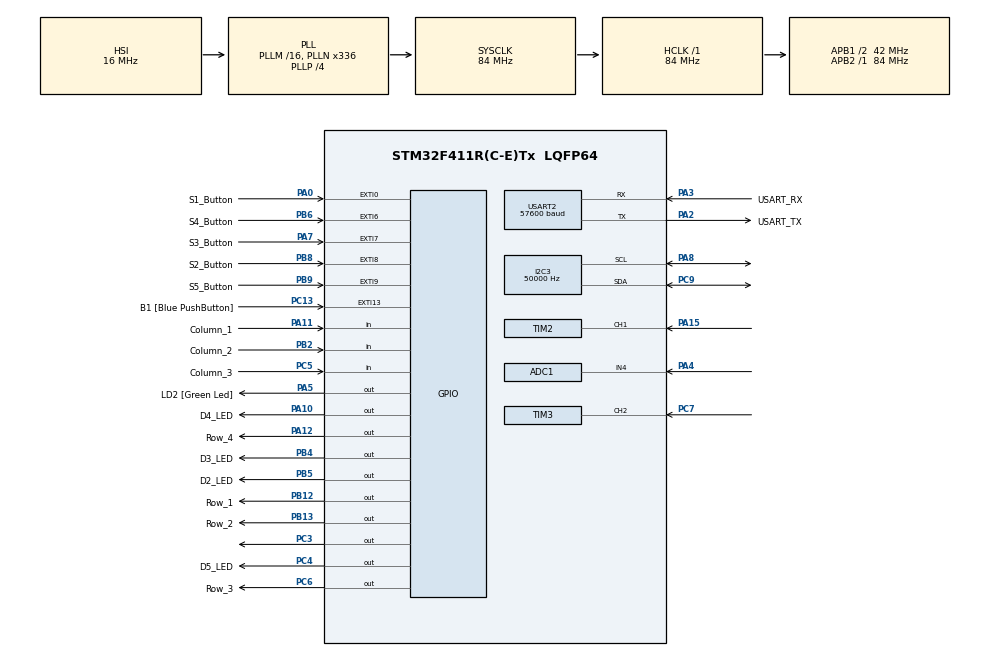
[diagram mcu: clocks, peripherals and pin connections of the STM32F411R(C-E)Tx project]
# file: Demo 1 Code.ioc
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ADC1.Channel-0\#ChannelRegularConversion=ADC_CHANNEL_4
ADC1.NbrOfConversion=1
ADC1.NbrOfConversionFlag=1
ADC1.Rank-0\#ChannelRegularConversion=1
ADC1.SamplingTime-0\#ChannelRegularConversion=ADC_SAMPLETIME_144CYCLES
ADC1.master=1
I2C3.ClockSpeed=50000
I2C3.I2C_Mode=I2C_Standard
Mcu.Family=STM32F4
Mcu.Name=STM32F411R(C-E)Tx
Mcu.Package=LQFP64
NVIC.ADC_IRQn=true\:0\:0\:false\:false\:true\:true\:true\:true
NVIC.EXTI0_IRQn=true\:0\:0\:false\:false\:true\:true\:true\:true
NVIC.EXTI15_10_IRQn=true\:0\:0\:false\:false\:true\:true\:true\:true
NVIC.EXTI9_5_IRQn=true\:0\:0\:false\:false\:true\:true\:true\:true
NVIC.PriorityGroup=NVIC_PRIORITYGROUP_0
NVIC.TIM2_IRQn=true\:0\:0\:false\:false\:true\:true\:true\:true
NVIC.TIM3_IRQn=true\:0\:0\:false\:false\:true\:true\:true\:true
NVIC.USART2_IRQn=true\:0\:0\:false\:false\:true\:true\:true\:true
PA0-WKUP.GPIO_Label=S1_Button
PA0-WKUP.GPIO_PuPd=GPIO_PULLDOWN
PA0-WKUP.Signal=GPXTI0
PA10.GPIO_Label=D4_LED
PA10.Signal=GPIO_Output
PA11.GPIO_Label=Column_1
PA11.GPIO_PuPd=GPIO_PULLDOWN
PA11.Signal=GPIO_Input
PA12.GPIO_Label=Row_4
PA12.Signal=GPIO_Output
PA13.GPIO_Label=TMS
PA13.Mode=Serial_Wire
PA13.Signal=SYS_JTMS-SWDIO
PA14.GPIO_Label=TCK
PA14.Mode=Serial_Wire
PA14.Signal=SYS_JTCK-SWCLK
PA15.GPIO_PuPd=GPIO_NOPULL
PA15.Signal=S_TIM2_CH1_ETR
PA2.GPIO_Label=USART_TX
PA2.Mode=Asynchronous
PA2.Signal=USART2_TX
PA3.GPIO_Label=USART_RX
PA3.Mode=Asynchronous
PA3.Signal=USART2_RX
PA4.Signal=ADCx_IN4
PA5.GPIO_Label=LD2 [Green Led]
PA5.Signal=GPIO_Output
PA7.GPIO_Label=S3_Button
PA7.GPIO_PuPd=GPIO_PULLDOWN
PA7.Signal=GPXTI7
PA8.Mode=I2C
PA8.Signal=I2C3_SCL
PB12.GPIO_Label=Row_1
PB12.Signal=GPIO_Output
PB13.GPIO_Label=Row_2
PB13.Signal=GPIO_Output
PB2.GPIO_Label=Column_2
PB2.GPIO_PuPd=GPIO_PULLDOWN
PB2.Signal=GPIO_Input
PB3.GPIO_Label=SWO
PB3.Signal=SYS_JTDO-SWO
PB4.GPIO_Label=D3_LED
PB4.Signal=GPIO_Output
PB5.GPIO_Label=D2_LED
PB5.Signal=GPIO_Output
PB6.GPIO_Label=S4_Button
PB6.GPIO_PuPd=GPIO_PULLDOWN
PB6.Signal=GPXTI6
PB8.GPIO_Label=S2_Button
PB8.GPIO_PuPd=GPIO_PULLDOWN
PB8.Signal=GPXTI8
PB9.GPIO_Label=S5_Button
PB9.GPIO_PuPd=GPIO_PULLDOWN
PB9.Signal=GPXTI9
PC13-ANTI_TAMP.GPIO_Label=B1 [Blue PushButton]
PC13-ANTI_TAMP.GPIO_ModeDefaultEXTI=GPIO_MODE_IT_FALLING
PC13-ANTI_TAMP.Signal=GPXTI13
PC14-OSC32_IN.Mode=LSE-External-Oscillator
PC14-OSC32_IN.Signal=RCC_OSC32_IN
PC15-OSC32_OUT.Mode=LSE-External-Oscillator
PC15-OSC32_OUT.Signal=RCC_OSC32_OUT
PC3.Signal=GPIO_Output
PC4.GPIO_Label=D5_LED
PC4.Signal=GPIO_Output
PC5.GPIO_Label=Column_3
PC5.GPIO_PuPd=GPIO_PULLDOWN
PC5.Signal=GPIO_Input
PC6.GPIO_Label=Row_3
PC6.Signal=GPIO_Output
PC7.GPIO_PuPd=GPIO_NOPULL
PC7.Signal=S_TIM3_CH2
PC9.Mode=I2C
PC9.Signal=I2C3_SDA
PH0\ -\ OSC_IN.Mode=HSE-External-Clock-Source
PH0\ -\ OSC_IN.Signal=RCC_OSC_IN
PH1\ -\ OSC_OUT.Mode=HSE-External-Clock-Source
PH1\ -\ OSC_OUT.Signal=RCC_OSC_OUT
ProjectManager.HeapSize=0x200
ProjectManager.StackSize=0x400
ProjectManager.TargetToolchain=STM32CubeIDE
RCC.48MHZClocksFreq_Value=84000000
RCC.AHBFreq_Value=84000000
RCC.APB1CLKDivider=RCC_HCLK_DIV2
RCC.APB1Freq_Value=42000000
RCC.APB1TimFreq_Value=84000000
RCC.APB2Freq_Value=84000000
RCC.APB2TimFreq_Value=84000000
RCC.CortexFreq_Value=84000000
RCC.FLatency-AdvancedSettings=FLASH_LATENCY_2
RCC.HCLKFreq_Value=84000000
RCC.HSE_VALUE=8000000
RCC.HSI_VALUE=16000000
RCC.PLLN=336
RCC.PLLP=RCC_PLLP_DIV4
RCC.SYSCLKFreq_VALUE=84000000
RCC.SYSCLKSource=RCC_SYSCLKSOURCE_PLLCLK
RCC.VCOOutputFreq_Value=336000000
SH.ADCx_IN4.0=ADC1_IN4,IN4
SH.S_TIM2_CH1_ETR.0=TIM2_CH1,Input_Capture1_from_TI1
SH.S_TIM3_CH2.0=TIM3_CH2,Input_Capture2_from_TI2
TIM2.Channel-Input_Capture1_from_TI1=TIM_CHANNEL_1
TIM2.Prescaler=83
TIM3.Channel-Input_Capture2_from_TI2=TIM_CHANNEL_2
TIM3.Prescaler=0
USART2.BaudRate=57600
USART2.Parity=PARITY_EVEN
USART2.VirtualMode=VM_ASYNC
USART2.WordLength=WORDLENGTH_9B
board=NUCLEO-F411RE

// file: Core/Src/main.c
/* USER CODE BEGIN Header */
/**
  ******************************************************************************
  * @file           : main.c
  * @brief          : Main program body
  ******************************************************************************
  * @attention
  *
  * Copyright (c) 2026 STMicroelectronics.
  * All rights reserved.
  *
  * This software is licensed under terms that can be found in the LICENSE file
  * in the root directory of this software component.
  * If no LICENSE file comes with this software, it is provided AS-IS.
  *
  ******************************************************************************
  */
/* USER CODE END Header */
#include "main.h"

/* USER CODE BEGIN Includes */
#include <string.h>
#include <stdio.h>
#include <stdlib.h>
#include <ssd1306.h>
#include <ssd1306_fonts.h>

/* USER CODE END Includes */

/* USER CODE BEGIN PD */
#define BUTTON_DEBOUNCE_TIME_MS 200
#define TEMP_BUFFER_SIZE 5
#define TRIG_PIN GPIO_PIN_3
#define TRIG_PORT GPIOC

//LED definitions
#define D2_LED_PIN GPIO_PIN_5
#define D2_LED_PORT GPIOB
#define D3_LED_PIN GPIO_PIN_4
#define D3_LED_PORT GPIOB
#define D4_LED_PIN GPIO_PIN_10
#define D4_LED_PORT GPIOA
#define D5_LED_PIN GPIO_PIN_4
#define D5_LED_PORT GPIOC

//Button definitions
#define S1_Button_pin GPIO_PIN_0
#define S1_BUTTON_PORT GPIOA
#define S2_Button_pin GPIO_PIN_8
#define S2_BUTTON_PORT GPIOB
#define S3_Button_pin GPIO_PIN_7
#define S3_BUTTON_PORT GPIOA
#define S4_Button_pin GPIO_PIN_6
#define S4_BUTTON_PORT GPIOB
#define S5_Button_pin GPIO_PIN_9
#define S5_BUTTON_PORT GPIOB

// Temperature sensor definitions
#define TEMP_WINDOW_MS              200U
#define TEMP_FILTER_SIZE            5U
#define TEMP_HIGH_ALARM_C           30.0f

#define TEMP_STARTUP_DISCARD_COUNT  1U
#define TEMP_MAX_STEP_C             3.0f
#define TEMP_MIN_VALID_C           -20.0f
#define TEMP_MAX_VALID_C            80.0f
#define TEMP_MIN_VALID_PULSES      400U
#define TEMP_MAX_VALID_PULSES     2500U
#define TEMP_STALE_TIMEOUT_MS     80U

// Proximity sensor definitions
#define ULTRA_TRIGGER_PERIOD_MS     100U
#define ULTRA_ALARM_CM              10.0f
#define ULTRA_CLEAR_CM              30.0f

//Keypad definitions
#define COLUMN_1_PIN GPIO_PIN_11
#define COLUMN_1_PORT GPIOA
#define COLUMN_2_PIN GPIO_PIN_2
#define COLUMN_2_PORT GPIOB
#define COLUMN_3_PIN GPIO_PIN_5
#define COLUMN_3_PORT GPIOC
#define ROW_1_PIN GPIO_PIN_12
#define ROW_1_PORT GPIOB
#define ROW_2_PIN GPIO_PIN_13
#define ROW_2_PORT GPIOB
#define ROW_3_PIN GPIO_PIN_6
#define ROW_3_PORT GPIOC
#define ROW_4_PIN GPIO_PIN_12
#define ROW_4_PORT GPIOA

//For the light sensor alarm condition
#define LIGHT_LOW_THRESHOLD   300.0f
#define LIGHT_HIGH_THRESHOLD  350.0f   // hysteresis

/* USER CODE END PD */

ADC_HandleTypeDef hadc1;

I2C_HandleTypeDef hi2c3;

TIM_HandleTypeDef htim2;
TIM_HandleTypeDef htim3;

UART_HandleTypeDef huart2;

/* USER CODE BEGIN PV */
// LED state tracking
uint8_t led_d3_state = 1;  // D3 starts ON (continuously)
uint8_t led_d5_state = 1;  // D5 starts ON (continuously)

// Flash timing
uint32_t lastFlashTime = 0;
uint8_t flashToggle = 0;

// Flag variables for buttons
volatile uint8_t flag_S1 = 0;
volatile uint8_t flag_S2 = 0;
volatile uint8_t flag_S3 = 0;
volatile uint8_t flag_S4 = 0;
volatile uint8_t flag_S5 = 0;

// Debounce trackers for each specific button
uint32_t LastTick_S1  = 0; // S1
uint32_t LastTick_S2  = 0; // S2
uint32_t LastTick_S3  = 0; // S3
uint32_t LastTick_S4  = 0; // S4
uint32_t LastTick_S5  = 0; // S5

/* ================= TEMPERATURE SENSOR ================= */
volatile uint32_t temp_pulse_count = 0;
volatile uint32_t temp_last_pulse_tick = 0;
volatile uint8_t  temp_raw_ready = 0;

float temp_raw_c = 0.0f;
float temp_calibrated_c = 0.0f;
float current_temp = 0.0f;

/* Two-point calibration: y = m*x + b
   Fill these from your own calibration measurements */
float temp_cal_m = 1.0000f;
float temp_cal_b = 0.0000f;

/* Robustness filter: keep 5 readings */
float temp_hist[TEMP_FILTER_SIZE] = {0};
uint8_t temp_hist_index = 0;
uint8_t temp_hist_full = 0;

/* ================= PROXIMITY SENSOR ================= */
float distance_cm = 0.0f;

// For the UART @Stat Command
uint8_t rx;
char uart_cmd[32];
uint8_t idx = 0;

// For alarm coding
volatile uint8_t proximity_alarm = 0;
volatile uint8_t temperature_alarm = 0;
volatile uint8_t alarm_check_enabled = 0;
uint32_t light_low_start_time = 0;
uint8_t light_alarm_state = 0;
volatile uint8_t light_warn_enabled = 1;
volatile uint8_t proximity_warn_enabled = 1;
volatile uint8_t temperature_warn_enabled = 1;
volatile uint8_t unsafe_driving = 0;
volatile uint8_t impact_detected = 0;
volatile uint8_t low_light_warning = 0;
volatile uint8_t warn_override[6] = {0};  // index 1–5
uint8_t data_logging_enabled = 0;
volatile uint8_t unsafe_alarm = 0;
volatile uint8_t impact_alarm = 0;
uint8_t temp_startup_discards = 0;
uint8_t temp_has_valid_reading = 0;
float temp_last_good_c = 0.0f;

//Menu navigation pages
typedef enum {
    PAGE_DEFAULT,

    PAGE_DISPLAY_1,
    PAGE_DISPLAY_2,
    PAGE_DISPLAY_3,
    PAGE_DISPLAY_4,
    PAGE_DISPLAY_5,

    PAGE_DATA_ENTRY_1,
    PAGE_DATA_ENTRY_2,
    PAGE_DATA_ENTRY_3,

    PAGE_DIAGNOSTIC_1,
    PAGE_DIAGNOSTIC_2,
    PAGE_DIAGNOSTIC_3,
    PAGE_DIAGNOSTIC_4,

    PAGE_WARNING
} SystemPage;

volatile SystemPage currentPage = PAGE_DEFAULT;

// ===== NEW MENU SYSTEM =====
uint8_t in_menu = 1;
uint8_t menu_state = 0;   // 0=Measurements, 1=Data Entry, 2=Diagnostics
uint8_t page = 0;
uint8_t subpage = 0;   // NEW: for deeper layer

uint8_t max_pages[] = {5, 3, 4};
// Measurements, Data Entry, Diagnostics
uint8_t in_warning = 0;
uint8_t warning_type = 0;

// Data entry
uint8_t editing = 0;
char input_buffer[10] = "";
float fuel_value = 0.0f;
float odometer_value = 0.0f;

// For Keypad debouncing
uint32_t keypad_last_time = 0;
char last_key = 0;

//For the alarm pages
uint8_t warning_acknowledged = 0;

//For the light sensor
volatile uint16_t light_adc = 0;
volatile float light_voltage = 0.0f;
volatile float light_lux = 0.0f;
uint16_t adc_raw = 0;

//For SetWarn implementation
volatile uint8_t forced_unsafe = 0;
volatile uint8_t forced_impact = 0;
volatile uint8_t forced_low_light = 0;
volatile uint8_t forced_proximity = 0;
volatile uint8_t forced_temp = 0;

/* ================= FUEL EFFICIENCY ================= */
float fuel_eff_kmpl = 0.0f;
float fuel_eff_l_per_100km = 0.0f;
volatile uint8_t sfd_received = 0;     // SFD has been received/executed

/* USER CODE END PV */

void SystemClock_Config(void);
static void MX_GPIO_Init(void);
static void MX_USART2_UART_Init(void);
static void MX_TIM2_Init(void);
static void MX_TIM3_Init(void);
static void MX_I2C3_Init(void);
static void MX_ADC1_Init(void);
/* USER CODE BEGIN PFP */
void ProcessButtons(void);
float FilterMiddle3Of5(float new_value);
void UpdateTemperatureSensor(void);
void SetTemperatureCalibration(float raw_low, float actual_low, float raw_high, float actual_high);
float Get_Distance(void);
float ApplyLinearCalibration(float raw_value, float m, float b);
void UpdateLightSensor(void);
void UpdateLightAlarm(void);
void SlideFixed1Buffer(char *buf, char digit);
float Fixed1BufferToFloat(const char *buf);
void FormatSlidingValue(char *out, size_t out_size, const char *buf);
void RecalculateFuelEfficiency(void);
void HandleSFDCommand(const char *cmd);
void SendRFEResponse(void);

/* USER CODE END PFP */

/* USER CODE BEGIN 0 */
void SendStudent_Number(void)
{
    HAL_Delay(350);
    char uart_buffer[20];
    const char studentNumber[] = "*24989142#\n";
    sprintf(uart_buffer, "%s", studentNumber);
    HAL_UART_Transmit(&huart2, (uint8_t*)studentNumber, strlen(studentNumber), 500);
}

void UpdateLEDs(void)
{
    uint32_t now = HAL_GetTick();

    if((now - lastFlashTime) >= 500U)
    {
        lastFlashTime = now;
        flashToggle ^= 1U;
    }
    /* Alarm sources for LEDs:
       - live measured alarms
       - OR SetWarn forced alarms
       SetWarn must not disable live alarm behaviour.
    */
    uint8_t d2_alarm = (proximity_alarm || forced_proximity);
    uint8_t d3_alarm = (unsafe_alarm || impact_alarm || forced_unsafe || forced_impact);
    uint8_t d4_alarm = (light_alarm_state || forced_low_light);
    uint8_t d5_alarm = (temperature_alarm || forced_temp);
    /* If you want LEDs OFF when no alarm, use RESET in the false case.
       That matches "alarm indicator" behaviour better than keeping them ON.
    */
    HAL_GPIO_WritePin(D2_LED_PORT, D2_LED_PIN,
        d2_alarm ? (flashToggle ? GPIO_PIN_SET : GPIO_PIN_RESET) : GPIO_PIN_SET);

    HAL_GPIO_WritePin(D3_LED_PORT, D3_LED_PIN,
        d3_alarm ? (flashToggle ? GPIO_PIN_SET : GPIO_PIN_RESET) : GPIO_PIN_SET);

    HAL_GPIO_WritePin(D4_LED_PORT, D4_LED_PIN,
        d4_alarm ? (flashToggle ? GPIO_PIN_SET : GPIO_PIN_RESET) : GPIO_PIN_SET);

    HAL_GPIO_WritePin(D5_LED_PORT, D5_LED_PIN,
        d5_alarm ? (flashToggle ? GPIO_PIN_SET : GPIO_PIN_RESET) : GPIO_PIN_SET);
}

void RecalculateFuelEfficiency(void)
{
    /* fuel_value      = liters refuelled
       odometer_value  = distance travelled since previous refuelling */
	fuel_eff_kmpl = odometer_value / fuel_value;
	fuel_eff_l_per_100km = (fuel_value / odometer_value) * 100.0f;
}

void HandleSFDCommand(const char *cmd)
{
    float liters = 0.0f;
    float km = 0.0f;
    if(sscanf(cmd, "@SFD %f;%f&", &liters, &km) == 2)
    {
        if(liters > 0.0f && km > 0.0f)
        {
            fuel_value = liters;
            odometer_value = km;
            sfd_received = 1;              // <-- missing line
            RecalculateFuelEfficiency();
        }
    }
}

void SendRFEResponse(void)
{
    char msg[128];
    /* Replace the timestamp later with your RTC values */
    snprintf(msg, sizeof(msg),
    		"@2026/02/26 22:12:42\n"
            "Fuel Eff: %04.1f km/L %04.1f L/100km\n"
            "&\n",
            fuel_eff_kmpl, fuel_eff_l_per_100km);
    HAL_UART_Transmit(&huart2, (uint8_t*)msg, strlen(msg), 500);
}

void SlideFixed1Buffer(char *buf, char digit)
{
    size_t len = strlen(buf);
    if(len < 4)
    {
        buf[len] = digit;
        buf[len + 1] = '\0';
    }
    else
    {
        buf[0] = buf[1];
        buf[1] = buf[2];
        buf[2] = buf[3];
        buf[3] = digit;
        buf[4] = '\0';
    }
}

float Fixed1BufferToFloat(const char *buf)
{
    int raw = 0;
    size_t len = strlen(buf);
    for(size_t i = 0; i < len; i++)
    {
        if(buf[i] >= '0' && buf[i] <= '9')
        {
            raw = (raw * 10) + (buf[i] - '0');
        }
    }
    return ((float)raw) / 10.0f;
}

void FormatSlidingValue(char *out, size_t out_size, const char *buf)
{
    int raw = 0;
    size_t len = strlen(buf);
    for(size_t i = 0; i < len; i++)
    {
        if(buf[i] >= '0' && buf[i] <= '9')
        {
            raw = (raw * 10) + (buf[i] - '0');
        }
    }
    snprintf(out, out_size, "%3d.%1d", raw / 10, raw % 10);
}

void ProcessButtons(void)
{
    // S1 = UP
    if(flag_S1)
    {
        flag_S1 = 0;
        if(in_warning)
            return;
        if(in_menu)   // top-level menu select
        {
            menu_state = (menu_state == 0) ? 2 : (menu_state - 1);
        }
        else if(!editing)   // inside selected menu, page navigation
        {
            if(page == 0)
                page = max_pages[menu_state] - 1;
            else
                page--;
        }
    }
    // S5 = DOWN
    if(flag_S5)
    {
        flag_S5 = 0;
        if(in_warning)
            return;
        if(in_menu)
        {
            menu_state = (menu_state + 1) % 3;
        }
        else if(!editing)
        {
            page++;
            if(page >= max_pages[menu_state])
                page = 0;
        }
    }
    // S4 = ENTER selected top-level menu
    if(flag_S4)
    {
        flag_S4 = 0;
        if(in_warning)
            return;
        if(in_menu)
        {
            in_menu = 0;
            page = 0;
        }
    }
    // S2 = EXIT / BACK
    if(flag_S2)
    {
        flag_S2 = 0;
        if(in_warning)
            return;   // S2 does nothing on warning page now
        if(editing)
        {
            editing = 0;
            memset(input_buffer, 0, sizeof(input_buffer));
        }
        else if(!in_menu)
        {
            in_menu = 1;
            page = 0;
        }
    }
    // S3 = DATA ENTRY toggle on pages 0 and 1 only
    if(flag_S3)
    {
        flag_S3 = 0;
        if(in_warning)
        {
            in_warning = 0;
            warning_acknowledged = 1;
            warning_type = 0;
            return;
        }
        if(!in_menu && menu_state == 1 && (page == 0 || page == 1))
        {
            if(!editing)
            {
                editing = 1;
                memset(input_buffer, 0, sizeof(input_buffer));
            }
            else
            {
                if(strlen(input_buffer) > 0)
                {
                    float val = Fixed1BufferToFloat(input_buffer);
                    if(page == 0)
                        fuel_value = val;
                    else
                        odometer_value = val;
                    RecalculateFuelEfficiency();
                }
                editing = 0;
                memset(input_buffer, 0, sizeof(input_buffer));
            }
        }
    }
}

float ApplyLinearCalibration(float raw_value, float m, float b)
{
    return (m * raw_value) + b;
}

void UpdateTemperatureSensor(void)
{
    static uint32_t last_window_tick = 0;
    uint32_t now = HAL_GetTick();

    if((now - last_window_tick) < TEMP_WINDOW_MS)
    {
        return;
    }
    last_window_tick = now;

    uint32_t pulses;
    uint32_t last_pulse_tick;

    __disable_irq();
    pulses = temp_pulse_count;
    temp_pulse_count = 0;
    last_pulse_tick = temp_last_pulse_tick;
    __enable_irq();

    /* Ignore stale or partial captures */
    if((now - last_pulse_tick) > TEMP_STALE_TIMEOUT_MS)
    {
        return;
    }

    /* Reject clearly bad pulse counts */
    if((pulses < TEMP_MIN_VALID_PULSES) || (pulses > TEMP_MAX_VALID_PULSES))
    {
        return;
    }

    temp_raw_c = (((float)pulses / 4096.0f) * 256.0f) - 50.0f;
    temp_calibrated_c = ApplyLinearCalibration(temp_raw_c, temp_cal_m, temp_cal_b);

    /* Reject impossible calibrated temperatures */
    if((temp_calibrated_c < TEMP_MIN_VALID_C) || (temp_calibrated_c > TEMP_MAX_VALID_C))
    {
        return;
    }

    /* Discard first few readings after startup per LMT01 guidance */
    if(temp_startup_discards < TEMP_STARTUP_DISCARD_COUNT)
    {
        temp_startup_discards++;
        return;
    }

    /* Reject single-sample spikes */
    if(temp_has_valid_reading)
    {
        float step = temp_calibrated_c - temp_last_good_c;
        if(step < 0.0f)
            step = -step;

        if(step > TEMP_MAX_STEP_C)
        {
            return;
        }
    }

    current_temp = FilterMiddle3Of5(temp_calibrated_c);
    temp_last_good_c = current_temp;
    temp_has_valid_reading = 1U;
    temp_raw_ready = 1U;

    if(alarm_check_enabled && temperature_warn_enabled)
    {
        temperature_alarm = (current_temp > TEMP_HIGH_ALARM_C) ? 1U : 0U;
    }
    else
    {
        temperature_alarm = 0U;
    }
}

void SetTemperatureCalibration(float raw_low, float actual_low, float raw_high, float actual_high)
{
    float denom = raw_high - raw_low;
    if(denom > -0.0001f && denom < 0.0001f)
    {
        temp_cal_m = 1.0f;
        temp_cal_b = 0.0f;
        return;
    }
    temp_cal_m = (actual_high - actual_low) / denom;
    temp_cal_b = actual_low - (temp_cal_m * raw_low);
}

void DWT_Delay_Init(void)
{
    CoreDebug->DEMCR |= CoreDebug_DEMCR_TRCENA_Msk;
    DWT->CYCCNT = 0;
    DWT->CTRL |= DWT_CTRL_CYCCNTENA_Msk;
}

void delay_us(uint32_t us)
{
    uint32_t start = DWT->CYCCNT;
    uint32_t cycles = us * (HAL_RCC_GetHCLKFreq() / 1000000U);
    while((DWT->CYCCNT - start) < cycles)
    {
        /* wait */
    }
}

float Get_Distance(void)
{
    uint32_t ticks = 0;
    uint32_t timeout;
    HAL_GPIO_WritePin(GPIOC, GPIO_PIN_3, GPIO_PIN_RESET);
    delay_us(2);
    HAL_GPIO_WritePin(GPIOC, GPIO_PIN_3, GPIO_PIN_SET);
    delay_us(15);
    HAL_GPIO_WritePin(GPIOC, GPIO_PIN_3, GPIO_PIN_RESET);

    timeout = 30000U;
    while(HAL_GPIO_ReadPin(GPIOA, GPIO_PIN_15) == GPIO_PIN_RESET)
    {
        if(--timeout == 0U)
            return -1.0f;
        delay_us(1);
    }
    __HAL_TIM_SET_COUNTER(&htim2, 0);
    timeout = 30000U;
    while(HAL_GPIO_ReadPin(GPIOA, GPIO_PIN_15) == GPIO_PIN_SET)
    {
        if(--timeout == 0U)
            return -2.0f;
        delay_us(1);
    }
    ticks = __HAL_TIM_GET_COUNTER(&htim2);
    return ((float)ticks * 0.0343f) / 2.0f;
}

void OLED_Update(void)
{
    ssd1306_Fill(Black);
    char buf[25];
    // ================= WARNING MODE =================
    if(in_warning)
    {
        ssd1306_SetCursor(0,1);
        ssd1306_WriteString("==== WARNING ====", Font_7x10, White);
        switch(warning_type)
        {
        	case 1: // Unsafe driving
        		ssd1306_SetCursor(0,11);
        		ssd1306_WriteString("--Unsafe Driving--", Font_7x10, White);
        		snprintf(buf, sizeof(buf), "Accel: |%1.2f| g", 0.00f);
        		ssd1306_SetCursor(0,22);
        		ssd1306_WriteString(buf, Font_7x10, White);
        	break;

        	case 2: // Impact detected
        		ssd1306_SetCursor(0,11);
        		ssd1306_WriteString("-Impact Detected--", Font_7x10, White);
        		snprintf(buf, sizeof(buf), "Accel: |%1.2f| g", 0.00f);
        		ssd1306_SetCursor(0,22);
        		ssd1306_WriteString(buf, Font_7x10, White);
        	break;

        	case 3: // Low lighting
        		ssd1306_SetCursor(0,11);
        		ssd1306_WriteString("----Low Light----", Font_7x10, White);
        		snprintf(buf, sizeof(buf), "Light: %4.0f lux", light_lux);
        		ssd1306_SetCursor(0,22);
        		ssd1306_WriteString(buf, Font_7x10, White);
        	break;

        	case 4: // Proximity
                ssd1306_SetCursor(0,11);
                ssd1306_WriteString("---Proximity---", Font_7x10, White);
                snprintf(buf, sizeof(buf), "Dist: %4.1f cm", distance_cm);
                ssd1306_SetCursor(0,22);
                ssd1306_WriteString(buf, Font_7x10, White);
            break;

            case 5: // Temperature
                ssd1306_SetCursor(0,11);
                ssd1306_WriteString("-High Temperature-", Font_7x10, White);
                snprintf(buf, sizeof(buf), "Temp: %4.1f C", current_temp);
                ssd1306_SetCursor(0,22);
                ssd1306_WriteString(buf, Font_7x10, White);
            break;
        }
        ssd1306_UpdateScreen();
        return;
    }
    // ================= MENU =================
    if(in_menu)
    {
        ssd1306_SetCursor(0,1);
        ssd1306_WriteString("=2026/02/26 22:12=", Font_7x10, White);
        ssd1306_SetCursor(0,11);
        switch(menu_state)
        {
            case 0: ssd1306_WriteString("== Measurements ==", Font_7x10, White); break;
            case 1: ssd1306_WriteString("=== Data Entry ===", Font_7x10, White); break;
            case 2: ssd1306_WriteString("== Diagnostics ==", Font_7x10, White); break;
        }
        ssd1306_SetCursor(0,22);
        ssd1306_WriteString("Press -> display", Font_7x10, White);

        ssd1306_UpdateScreen();
        return;
    }
    else
    {
    	// ================= PAGE LEVEL =================
    	switch(menu_state)
    	{
    	case 0: // Measurements
    	    switch(page)
    	    {
    	        case 0:
    	            ssd1306_SetCursor(0,1);
    	            ssd1306_WriteString("=2026/02/26 22:12=", Font_7x10, White);
    	            snprintf(buf, sizeof(buf), "Dist: %4.1f cm", distance_cm);      // xx.x
    	            ssd1306_SetCursor(0,11);
    	            ssd1306_WriteString(buf, Font_7x10, White);

    	            snprintf(buf, sizeof(buf), "Temp: %4.1f C", current_temp);      // xx.x
    	            ssd1306_SetCursor(0,22);
    	            ssd1306_WriteString(buf, Font_7x10, White);
    	            break;

    	        case 1:
    	            ssd1306_SetCursor(0,1);
    	            ssd1306_WriteString("=2026/02/26 22:12=", Font_7x10, White);

    	            snprintf(buf, sizeof(buf), "Accel: |%1.2f| g", 0.00f);        // x.xx
    	            ssd1306_SetCursor(0,11);
    	            ssd1306_WriteString(buf, Font_7x10, White);

    	            snprintf(buf, sizeof(buf), "Light: %4.0f lux", light_lux);      // xxxx
    	            ssd1306_SetCursor(0,22);
    	            ssd1306_WriteString(buf, Font_7x10, White);
    	            break;

    	        case 2:
    	            ssd1306_SetCursor(0,1);
    	            ssd1306_WriteString("=2026/02/26 22:12=", Font_7x10, White);

    	            snprintf(buf, sizeof(buf), "Lat: %9.6f", 0.000000f);            // xx.xxxxxx
    	            ssd1306_SetCursor(0,11);
    	            ssd1306_WriteString(buf, Font_7x10, White);

    	            snprintf(buf, sizeof(buf), "Long: %10.6f", 0.000000f);          // xxx.xxxxxx
    	            ssd1306_SetCursor(0,22);
    	            ssd1306_WriteString(buf, Font_7x10, White);
    	            break;

    	        case 3:
    	            ssd1306_SetCursor(0,1);
    	            ssd1306_WriteString("=2026/02/26 22:12=", Font_7x10, White);

    	            snprintf(buf, sizeof(buf), "Heading: %3.0f deg", 0.0f);        // xxx
    	            ssd1306_SetCursor(0,11);
    	            ssd1306_WriteString(buf, Font_7x10, White);

    	            snprintf(buf, sizeof(buf), "Speed: %5.1f km/h", 0.0f);          // xxx.x
    	            ssd1306_SetCursor(0,22);
    	            ssd1306_WriteString(buf, Font_7x10, White);
    	            break;

    	        case 4:
    	            ssd1306_SetCursor(0,1);
    	            ssd1306_WriteString("Fuel Efficiency:", Font_7x10, White);

    	            snprintf(buf, sizeof(buf), "%4.1f km/L", fuel_eff_kmpl);
    	            ssd1306_SetCursor(0,11);
    	            ssd1306_WriteString(buf, Font_7x10, White);

    	            snprintf(buf, sizeof(buf), "%4.1f L/100 km", fuel_eff_l_per_100km);
    	            ssd1306_SetCursor(0,22);
    	            ssd1306_WriteString(buf, Font_7x10, White);
    	            break;
    	    }
    	break;

    	case 1: // Data Entry
    		switch(page)
    		{
    			case 0: // Fuel
    				ssd1306_SetCursor(0,1);
    	            ssd1306_WriteString("Enter fuel liters", Font_7x10, White);
    	            if(editing)
    	            {
    	            	char value_buf[10];
    	            	FormatSlidingValue(value_buf, sizeof(value_buf), input_buffer);
    	            	snprintf(buf, sizeof(buf), "Current: %s L", value_buf);
    	            	ssd1306_SetCursor(0,11);
    	            	ssd1306_WriteString(buf, Font_7x10, White);
    	                ssd1306_SetCursor(0,22);
    	                ssd1306_WriteString("Press S3 to accept", Font_7x10, White);
    	            }
    	            else
    	            {
    	            	snprintf(buf, sizeof(buf), "Current: %.1f L", fuel_value);   // xxx.x
    	            	ssd1306_SetCursor(0,11);
    	            	ssd1306_WriteString(buf, Font_7x10, White);
    	            	ssd1306_SetCursor(0,22);
    	                ssd1306_WriteString("Press S3 to change", Font_7x10, White);
    	            }
    	         break;

    	         case 1: // Odometer
    	        	 ssd1306_SetCursor(0,1);
    	             ssd1306_WriteString("Enter odometer km", Font_7x10, White);
    	             if(editing)
    	             {
    	            	 char value_buf[10];
    	            	 FormatSlidingValue(value_buf, sizeof(value_buf), input_buffer);
    	            	 snprintf(buf, sizeof(buf), "Current: %s km", value_buf);
    	            	 ssd1306_SetCursor(0,11);
    	            	 ssd1306_WriteString(buf, Font_7x10, White);
    	                 ssd1306_SetCursor(0,22);
    	                 ssd1306_WriteString("Press S3 to accept", Font_7x10, White);
    	             }
    	             else
    	             {
    	            	 snprintf(buf, sizeof(buf), "Current: %.1f km", odometer_value); // xxx.x
    	            	 ssd1306_SetCursor(0,11);
    	            	 ssd1306_WriteString(buf, Font_7x10, White);
    	            	 ssd1306_SetCursor(0,22);
    	                 ssd1306_WriteString("Press S3 to change", Font_7x10, White);
    	             }
    	         break;

    	         case 2: // Data Logging (RESTORED)
    	             ssd1306_SetCursor(0,1);
    	             ssd1306_WriteString("Log data", Font_7x10, White);
    	             ssd1306_SetCursor(0,11);
    	             ssd1306_WriteString("'*' = Y / '#' = N", Font_7x10, White);
    	             if(data_logging_enabled)
    	             {
    	            	 ssd1306_SetCursor(0,22);
    	                 ssd1306_WriteString("Log Data: ENABLED", Font_7x10, White);
    	             }
    	             else
    	             {
    	            	 ssd1306_SetCursor(0,22);
    	            	 ssd1306_WriteString("Log Data: DISABLED", Font_7x10, White);
    	             }

    	         break;
    		}
    	break;

        case 2: // Diagnostics
        	switch(page)
        	{
        		case 0: // SD Card
        			ssd1306_SetCursor(0,0);
                    ssd1306_WriteString("=2026/02/26 22:12=", Font_7x10, White);
                    ssd1306_SetCursor(0,10);
                    ssd1306_WriteString("-- Diagnostics ---", Font_7x10, White);
                    ssd1306_SetCursor(0,20);
                    ssd1306_WriteString("SD-card:", Font_7x10, White);
                    ssd1306_SetCursor(80,20);
                    ssd1306_WriteString("NOT OK", Font_7x10, White); // hard-coded
                break;

            	case 1: // MPU-6050
            		ssd1306_SetCursor(0,0);
            		ssd1306_WriteString("=2026/02/26 22:12=", Font_7x10, White);
            		ssd1306_SetCursor(0,10);
            		ssd1306_WriteString("-- Diagnostics ---", Font_7x10, White);
            		ssd1306_SetCursor(0,20);
                    ssd1306_WriteString("MPU-6050:", Font_7x10, White);
                    ssd1306_SetCursor(80,20);
                    ssd1306_WriteString("NOT OK", Font_7x10, White);
                break;

            	case 2: // GPS
            		ssd1306_SetCursor(0,0);
            		ssd1306_WriteString("=2026/02/26 22:12=", Font_7x10, White);
            		ssd1306_SetCursor(0,10);
                    ssd1306_WriteString("-- Diagnostics ---", Font_7x10, White);
                    ssd1306_SetCursor(0,20);
                    ssd1306_WriteString("GPS:", Font_7x10, White);
                    ssd1306_SetCursor(80,20);
                    ssd1306_WriteString("NOT OK", Font_7x10, White);
                 break;

                 case 3: // Data Logging
                	 ssd1306_SetCursor(0,0);
                     ssd1306_WriteString("=2026/02/26 22:12=", Font_7x10, White);
                     ssd1306_SetCursor(0,10);
                     ssd1306_WriteString("-- Diagnostics ---", Font_7x10, White);
                     ssd1306_SetCursor(0,20);
                     ssd1306_WriteString("Log Data:", Font_7x10, White);
                     ssd1306_SetCursor(70,20);
                     if(data_logging_enabled)
                    	 ssd1306_WriteString("ENABLED", Font_7x10, White);
                     else
                         ssd1306_WriteString("DISABLED", Font_7x10, White);
                 break;
        	}
        break;
    	}
    }
    ssd1306_UpdateScreen();
}

char Keypad_Scan(void)
{
    const char keys[4][3] = {
        {'1','2','3'},
        {'4','5','6'},
        {'7','8','9'},
        {'*','0','#'}
    };

    GPIO_TypeDef* rowPorts[4] = {ROW_1_PORT, ROW_2_PORT, ROW_3_PORT, ROW_4_PORT};
    uint16_t rowPins[4] = {ROW_1_PIN, ROW_2_PIN, ROW_3_PIN, ROW_4_PIN};
    GPIO_TypeDef* colPorts[3] = {COLUMN_1_PORT, COLUMN_2_PORT, COLUMN_3_PORT};
    uint16_t colPins[3] = {COLUMN_1_PIN, COLUMN_2_PIN, COLUMN_3_PIN};

    for(int i = 0; i < 4; i++)
    {
        // Set all rows LOW first
        for(int r = 0; r < 4; r++)
            HAL_GPIO_WritePin(rowPorts[r], rowPins[r], GPIO_PIN_RESET);
        // Drive only this row HIGH
        HAL_GPIO_WritePin(rowPorts[i], rowPins[i], GPIO_PIN_SET);
        // Small settle time
        for(volatile int d = 0; d < 200; d++);
        for(int j = 0; j < 3; j++)
        {
            if(HAL_GPIO_ReadPin(colPorts[j], colPins[j]) == GPIO_PIN_SET)
            {
                return keys[i][j];
            }
        }
    }
    return 0;
}

void ProcessKeypad(void)
{
    char key = Keypad_Scan();
    if(key == 0)
    {
        last_key = 0;
        return;
    }
    if(key == last_key)
        return;
    if(HAL_GetTick() - keypad_last_time < 200)
        return;
    keypad_last_time = HAL_GetTick();
    last_key = key;
    // Editing fuel/odometer
    if(editing && menu_state == 1 && (page == 0 || page == 1))
    {
        if(key >= '0' && key <= '9')
        {
            SlideFixed1Buffer(input_buffer, key);
        }
        return;
    }
    // Data logging page: * = enable, # = disable
    if(!editing && !in_menu && menu_state == 1 && page == 2)
    {
        if(key == '*')
        {
            data_logging_enabled = 1;
        }
        else if(key == '#')
        {
            data_logging_enabled = 0;
        }
        return;
    }
}

void UpdateLightSensor(void)
{
    uint16_t adc_raw = 0;

    HAL_ADC_Start(&hadc1);
    if(HAL_ADC_PollForConversion(&hadc1, 10) == HAL_OK)
    {
        adc_raw = HAL_ADC_GetValue(&hadc1);
        // Step 1: Convert ADC to measured voltage (0–3.3V)
        float V_measured = (adc_raw / 4095.0f) * 3.3f;
        // Step 2: Apply calibration to reconstruct sensor voltage
        float V_in = (25.0f / 11.0f) * V_measured + 2.43636364f;
        // Step 3: Convert to lux
        light_lux = ((940.0f * V_in) - 2202.0f)/4.0f;
        // Optional: keep voltage for debugging
        light_voltage = V_in;
    }

    HAL_ADC_Stop(&hadc1);
}

void UpdateLightAlarm(void)
{
    uint32_t now = HAL_GetTick();
    if(!alarm_check_enabled || !light_warn_enabled)
    {
        light_alarm_state = 0;
        light_low_start_time = 0;
        return;
    }
    if(light_lux < LIGHT_LOW_THRESHOLD)
    {
        if(light_low_start_time == 0U)
        {
            light_low_start_time = now;
        }

        if((now - light_low_start_time) > 1000U)
        {
            light_alarm_state = 1U;
        }
    }
    else if(light_lux > LIGHT_HIGH_THRESHOLD)
    {
        light_alarm_state = 0U;
        light_low_start_time = 0U;
    }
}

/* USER CODE END 0 */

int main(void)
{

  /* USER CODE BEGIN 1 */
	//To do list
	//Install the OLED drivers and get it working
	//Build the state machine and get the keypad working
  /* USER CODE END 1 */

  /* MCU Configuration--------------------------------------------------------*/

  /* Reset of all peripherals, Initializes the Flash interface and the Systick. */
  HAL_Init();

  /* Configure the system clock */
  SystemClock_Config();

  /* Initialize all configured peripherals */
  MX_GPIO_Init();
  MX_USART2_UART_Init();
  MX_TIM2_Init();
  MX_TIM3_Init();
  MX_I2C3_Init();
  MX_ADC1_Init();
  /* USER CODE BEGIN 2 */
  SendStudent_Number();

  HAL_GPIO_WritePin(GPIOB, GPIO_PIN_5, GPIO_PIN_SET);    // D2 ON
  HAL_GPIO_WritePin(GPIOB, GPIO_PIN_4,  GPIO_PIN_SET);   // D3 starts ON
  HAL_GPIO_WritePin(GPIOA, GPIO_PIN_10,  GPIO_PIN_SET);  // D4 ON
  HAL_GPIO_WritePin(GPIOC, GPIO_PIN_4,  GPIO_PIN_SET);   // D5 starts ON

  flashToggle = 1;
  lastFlashTime = HAL_GetTick();

  // Initialising Timers
  HAL_TIM_IC_Start_IT(&htim3, TIM_CHANNEL_2);
  HAL_TIM_Base_Start(&htim2);
  DWT_Delay_Init();

  // The stat command
  HAL_UART_Receive_IT(&huart2,&rx,1);

  // Initialising alarm conditions
  alarm_check_enabled = 1;
  proximity_alarm = 0;
  temperature_alarm = 0;
  light_alarm_state = 0;

  //Initialising OLED
  ssd1306_Init();

  temp_pulse_count = 0;
  temp_last_pulse_tick = HAL_GetTick();
  temp_startup_discards = 0;
  temp_has_valid_reading = 0;
  temp_hist_index = 0;
  temp_hist_full = 0;
  for(uint8_t i = 0; i < TEMP_FILTER_SIZE; i++)
  {
      temp_hist[i] = 0.0f;
  }

  /* USER CODE END 2 */

  /* Infinite loop */
  while (1)
  {

    /* USER CODE BEGIN 3 */
	  static uint32_t last_ultra_sample = 0;
	      uint32_t now = HAL_GetTick();

	      UpdateLEDs();
	      ProcessButtons();
	      ProcessKeypad();

	      if((now - last_ultra_sample) >= ULTRA_TRIGGER_PERIOD_MS)
	      {
	          last_ultra_sample = now;
	          float d = Get_Distance();
	          if(d > 0.0f)
	          {
	              distance_cm = d;
	          }
	          else
	          {
	              distance_cm = 0.0f;
	          }

	          if(alarm_check_enabled && proximity_warn_enabled)
	          {
	              if(distance_cm > 0.0f)
	              {
	                  if(distance_cm <= ULTRA_ALARM_CM)
	                      proximity_alarm = 1U;
	                  else if(distance_cm >= ULTRA_CLEAR_CM)
	                      proximity_alarm = 0U;
	              }
	          }
	          else
	          {
	              proximity_alarm = 0U;
	          }
	      }
	      UpdateTemperatureSensor();
	      UpdateLightSensor();
	      UpdateLightAlarm();
	      OLED_Update();
	      HAL_Delay(20);

  }
  /* USER CODE END 3 */
}

void SystemClock_Config(void)
{
  RCC_OscInitTypeDef RCC_OscInitStruct = {0};
  RCC_ClkInitTypeDef RCC_ClkInitStruct = {0};

  /** Configure the main internal regulator output voltage
  */
  __HAL_RCC_PWR_CLK_ENABLE();
  __HAL_PWR_VOLTAGESCALING_CONFIG(PWR_REGULATOR_VOLTAGE_SCALE1);

  /** Initializes the RCC Oscillators according to the specified parameters
  * in the RCC_OscInitTypeDef structure.
  */
  RCC_OscInitStruct.OscillatorType = RCC_OSCILLATORTYPE_HSI;
  RCC_OscInitStruct.HSIState = RCC_HSI_ON;
  RCC_OscInitStruct.HSICalibrationValue = RCC_HSICALIBRATION_DEFAULT;
  RCC_OscInitStruct.PLL.PLLState = RCC_PLL_ON;
  RCC_OscInitStruct.PLL.PLLSource = RCC_PLLSOURCE_HSI;
  RCC_OscInitStruct.PLL.PLLM = 16;
  RCC_OscInitStruct.PLL.PLLN = 336;
  RCC_OscInitStruct.PLL.PLLP = RCC_PLLP_DIV4;
  RCC_OscInitStruct.PLL.PLLQ = 4;
  if (HAL_RCC_OscConfig(&RCC_OscInitStruct) != HAL_OK)
  {
    Error_Handler();
  }

  /** Initializes the CPU, AHB and APB buses clocks
  */
  RCC_ClkInitStruct.ClockType = RCC_CLOCKTYPE_HCLK|RCC_CLOCKTYPE_SYSCLK
                              |RCC_CLOCKTYPE_PCLK1|RCC_CLOCKTYPE_PCLK2;
  RCC_ClkInitStruct.SYSCLKSource = RCC_SYSCLKSOURCE_PLLCLK;
  RCC_ClkInitStruct.AHBCLKDivider = RCC_SYSCLK_DIV1;
  RCC_ClkInitStruct.APB1CLKDivider = RCC_HCLK_DIV2;
  RCC_ClkInitStruct.APB2CLKDivider = RCC_HCLK_DIV1;

  if (HAL_RCC_ClockConfig(&RCC_ClkInitStruct, FLASH_LATENCY_2) != HAL_OK)
  {
    Error_Handler();
  }
}

static void MX_ADC1_Init(void)
{

  ADC_ChannelConfTypeDef sConfig = {0};

  /** Configure the global features of the ADC (Clock, Resolution, Data Alignment and number of conversion)
  */
  hadc1.Instance = ADC1;
  hadc1.Init.ClockPrescaler = ADC_CLOCK_SYNC_PCLK_DIV4;
  hadc1.Init.Resolution = ADC_RESOLUTION_12B;
  hadc1.Init.ScanConvMode = DISABLE;
  hadc1.Init.ContinuousConvMode = DISABLE;
  hadc1.Init.DiscontinuousConvMode = DISABLE;
  hadc1.Init.ExternalTrigConvEdge = ADC_EXTERNALTRIGCONVEDGE_NONE;
  hadc1.Init.ExternalTrigConv = ADC_SOFTWARE_START;
  hadc1.Init.DataAlign = ADC_DATAALIGN_RIGHT;
  hadc1.Init.NbrOfConversion = 1;
  hadc1.Init.DMAContinuousRequests = DISABLE;
  hadc1.Init.EOCSelection = ADC_EOC_SINGLE_CONV;
  if (HAL_ADC_Init(&hadc1) != HAL_OK)
  {
    Error_Handler();
  }

  /** Configure for the selected ADC regular channel its corresponding rank in the sequencer and its sample time.
  */
  sConfig.Channel = ADC_CHANNEL_4;
  sConfig.Rank = 1;
  sConfig.SamplingTime = ADC_SAMPLETIME_144CYCLES;
  if (HAL_ADC_ConfigChannel(&hadc1, &sConfig) != HAL_OK)
  {
    Error_Handler();
  }

}

static void MX_I2C3_Init(void)
{

  hi2c3.Instance = I2C3;
  hi2c3.Init.ClockSpeed = 50000;
  hi2c3.Init.DutyCycle = I2C_DUTYCYCLE_2;
  hi2c3.Init.OwnAddress1 = 0;
  hi2c3.Init.AddressingMode = I2C_ADDRESSINGMODE_7BIT;
  hi2c3.Init.DualAddressMode = I2C_DUALADDRESS_DISABLE;
  hi2c3.Init.OwnAddress2 = 0;
  hi2c3.Init.GeneralCallMode = I2C_GENERALCALL_DISABLE;
  hi2c3.Init.NoStretchMode = I2C_NOSTRETCH_DISABLE;
  if (HAL_I2C_Init(&hi2c3) != HAL_OK)
  {
    Error_Handler();
  }

}

static void MX_TIM2_Init(void)
{

  TIM_MasterConfigTypeDef sMasterConfig = {0};
  TIM_IC_InitTypeDef sConfigIC = {0};

  htim2.Instance = TIM2;
  htim2.Init.Prescaler = 83;
  htim2.Init.CounterMode = TIM_COUNTERMODE_UP;
  htim2.Init.Period = 4294967295;
  htim2.Init.ClockDivision = TIM_CLOCKDIVISION_DIV1;
  htim2.Init.AutoReloadPreload = TIM_AUTORELOAD_PRELOAD_DISABLE;
  if (HAL_TIM_IC_Init(&htim2) != HAL_OK)
  {
    Error_Handler();
  }
  sMasterConfig.MasterOutputTrigger = TIM_TRGO_RESET;
  sMasterConfig.MasterSlaveMode = TIM_MASTERSLAVEMODE_DISABLE;
  if (HAL_TIMEx_MasterConfigSynchronization(&htim2, &sMasterConfig) != HAL_OK)
  {
    Error_Handler();
  }
  sConfigIC.ICPolarity = TIM_INPUTCHANNELPOLARITY_RISING;
  sConfigIC.ICSelection = TIM_ICSELECTION_DIRECTTI;
  sConfigIC.ICPrescaler = TIM_ICPSC_DIV1;
  sConfigIC.ICFilter = 0;
  if (HAL_TIM_IC_ConfigChannel(&htim2, &sConfigIC, TIM_CHANNEL_1) != HAL_OK)
  {
    Error_Handler();
  }

}

static void MX_TIM3_Init(void)
{

  TIM_MasterConfigTypeDef sMasterConfig = {0};
  TIM_IC_InitTypeDef sConfigIC = {0};

  htim3.Instance = TIM3;
  htim3.Init.Prescaler = 0;
  htim3.Init.CounterMode = TIM_COUNTERMODE_UP;
  htim3.Init.Period = 65535;
  htim3.Init.ClockDivision = TIM_CLOCKDIVISION_DIV1;
  htim3.Init.AutoReloadPreload = TIM_AUTORELOAD_PRELOAD_DISABLE;
  if (HAL_TIM_IC_Init(&htim3) != HAL_OK)
  {
    Error_Handler();
  }
  sMasterConfig.MasterOutputTrigger = TIM_TRGO_RESET;
  sMasterConfig.MasterSlaveMode = TIM_MASTERSLAVEMODE_DISABLE;
  if (HAL_TIMEx_MasterConfigSynchronization(&htim3, &sMasterConfig) != HAL_OK)
  {
    Error_Handler();
  }
  sConfigIC.ICPolarity = TIM_INPUTCHANNELPOLARITY_RISING;
  sConfigIC.ICSelection = TIM_ICSELECTION_DIRECTTI;
  sConfigIC.ICPrescaler = TIM_ICPSC_DIV1;
  sConfigIC.ICFilter = 0;
  if (HAL_TIM_IC_ConfigChannel(&htim3, &sConfigIC, TIM_CHANNEL_2) != HAL_OK)
  {
    Error_Handler();
  }

}

static void MX_USART2_UART_Init(void)
{

  huart2.Instance = USART2;
  huart2.Init.BaudRate = 57600;
  huart2.Init.WordLength = UART_WORDLENGTH_9B;
  huart2.Init.StopBits = UART_STOPBITS_1;
  huart2.Init.Parity = UART_PARITY_EVEN;
  huart2.Init.Mode = UART_MODE_TX_RX;
  huart2.Init.HwFlowCtl = UART_HWCONTROL_NONE;
  huart2.Init.OverSampling = UART_OVERSAMPLING_16;
  if (HAL_UART_Init(&huart2) != HAL_OK)
  {
    Error_Handler();
  }

}

static void MX_GPIO_Init(void)
{
  GPIO_InitTypeDef GPIO_InitStruct = {0};

  /* GPIO Ports Clock Enable */
  __HAL_RCC_GPIOC_CLK_ENABLE();
  __HAL_RCC_GPIOH_CLK_ENABLE();
  __HAL_RCC_GPIOA_CLK_ENABLE();
  __HAL_RCC_GPIOB_CLK_ENABLE();

  /*Configure GPIO pin Output Level */
  HAL_GPIO_WritePin(GPIOC, GPIO_PIN_3|D5_LED_Pin|Row_3_Pin, GPIO_PIN_RESET);

  /*Configure GPIO pin Output Level */
  HAL_GPIO_WritePin(GPIOA, LD2_Pin|D4_LED_Pin|Row_4_Pin, GPIO_PIN_RESET);

  /*Configure GPIO pin Output Level */
  HAL_GPIO_WritePin(GPIOB, Row_1_Pin|Row_2_Pin|D3_LED_Pin|D2_LED_Pin, GPIO_PIN_RESET);

  /*Configure GPIO pin : B1_Pin */
  GPIO_InitStruct.Pin = B1_Pin;
  GPIO_InitStruct.Mode = GPIO_MODE_IT_FALLING;
  GPIO_InitStruct.Pull = GPIO_NOPULL;
  HAL_GPIO_Init(B1_GPIO_Port, &GPIO_InitStruct);

  /*Configure GPIO pins : PC3 D5_LED_Pin Row_3_Pin */
  GPIO_InitStruct.Pin = GPIO_PIN_3|D5_LED_Pin|Row_3_Pin;
  GPIO_InitStruct.Mode = GPIO_MODE_OUTPUT_PP;
  GPIO_InitStruct.Pull = GPIO_NOPULL;
  GPIO_InitStruct.Speed = GPIO_SPEED_FREQ_LOW;
  HAL_GPIO_Init(GPIOC, &GPIO_InitStruct);

  /*Configure GPIO pins : S1_Button_Pin S3_Button_Pin */
  GPIO_InitStruct.Pin = S1_Button_Pin|S3_Button_Pin;
  GPIO_InitStruct.Mode = GPIO_MODE_IT_RISING;
  GPIO_InitStruct.Pull = GPIO_PULLDOWN;
  HAL_GPIO_Init(GPIOA, &GPIO_InitStruct);

  /*Configure GPIO pins : LD2_Pin D4_LED_Pin Row_4_Pin */
  GPIO_InitStruct.Pin = LD2_Pin|D4_LED_Pin|Row_4_Pin;
  GPIO_InitStruct.Mode = GPIO_MODE_OUTPUT_PP;
  GPIO_InitStruct.Pull = GPIO_NOPULL;
  GPIO_InitStruct.Speed = GPIO_SPEED_FREQ_LOW;
  HAL_GPIO_Init(GPIOA, &GPIO_InitStruct);

  /*Configure GPIO pin : Column_3_Pin */
  GPIO_InitStruct.Pin = Column_3_Pin;
  GPIO_InitStruct.Mode = GPIO_MODE_INPUT;
  GPIO_InitStruct.Pull = GPIO_PULLDOWN;
  HAL_GPIO_Init(Column_3_GPIO_Port, &GPIO_InitStruct);

  /*Configure GPIO pin : Column_2_Pin */
  GPIO_InitStruct.Pin = Column_2_Pin;
  GPIO_InitStruct.Mode = GPIO_MODE_INPUT;
  GPIO_InitStruct.Pull = GPIO_PULLDOWN;
  HAL_GPIO_Init(Column_2_GPIO_Port, &GPIO_InitStruct);

  /*Configure GPIO pins : Row_1_Pin Row_2_Pin D3_LED_Pin D2_LED_Pin */
  GPIO_InitStruct.Pin = Row_1_Pin|Row_2_Pin|D3_LED_Pin|D2_LED_Pin;
  GPIO_InitStruct.Mode = GPIO_MODE_OUTPUT_PP;
  GPIO_InitStruct.Pull = GPIO_NOPULL;
  GPIO_InitStruct.Speed = GPIO_SPEED_FREQ_LOW;
  HAL_GPIO_Init(GPIOB, &GPIO_InitStruct);

  /*Configure GPIO pin : Column_1_Pin */
  GPIO_InitStruct.Pin = Column_1_Pin;
  GPIO_InitStruct.Mode = GPIO_MODE_INPUT;
  GPIO_InitStruct.Pull = GPIO_PULLDOWN;
  HAL_GPIO_Init(Column_1_GPIO_Port, &GPIO_InitStruct);

  /*Configure GPIO pins : S4_Button_Pin S2_Button_Pin S5_Button_Pin */
  GPIO_InitStruct.Pin = S4_Button_Pin|S2_Button_Pin|S5_Button_Pin;
  GPIO_InitStruct.Mode = GPIO_MODE_IT_RISING;
  GPIO_InitStruct.Pull = GPIO_PULLDOWN;
  HAL_GPIO_Init(GPIOB, &GPIO_InitStruct);

  /* EXTI interrupt init*/
  HAL_NVIC_SetPriority(EXTI0_IRQn, 0, 0);
  HAL_NVIC_EnableIRQ(EXTI0_IRQn);

  HAL_NVIC_SetPriority(EXTI9_5_IRQn, 0, 0);
  HAL_NVIC_EnableIRQ(EXTI9_5_IRQn);

  HAL_NVIC_SetPriority(EXTI15_10_IRQn, 0, 0);
  HAL_NVIC_EnableIRQ(EXTI15_10_IRQn);

}

/* USER CODE BEGIN 4 */
void HAL_GPIO_EXTI_Callback(uint16_t GPIO_Pin)
{
    uint32_t now = HAL_GetTick();

    if(GPIO_Pin == S1_Button_pin)
    {
        if(now - LastTick_S1 > BUTTON_DEBOUNCE_TIME_MS)
        {
            LastTick_S1 = now;
            flag_S1 = 1;
        }
    }
    else if(GPIO_Pin == S2_Button_pin)
    {
        if(now - LastTick_S2 > BUTTON_DEBOUNCE_TIME_MS)
        {
            LastTick_S2 = now;
            flag_S2 = 1;
        }
    }
    else if(GPIO_Pin == S3_Button_pin)
    {
        if(now - LastTick_S3 > BUTTON_DEBOUNCE_TIME_MS)
        {
            LastTick_S3 = now;
            flag_S3 = 1;
        }
    }
    else if(GPIO_Pin == S4_Button_pin)
    {
        if(now - LastTick_S4 > BUTTON_DEBOUNCE_TIME_MS)
        {
            LastTick_S4 = now;
            flag_S4 = 1;
        }
    }
    else if(GPIO_Pin == S5_Button_pin)
    {
        if(now - LastTick_S5 > BUTTON_DEBOUNCE_TIME_MS)
        {
            LastTick_S5 = now;
            flag_S5 = 1;
        }
    }
}

float FilterMiddle3Of5(float new_value)
{
    temp_hist[temp_hist_index] = new_value;
    temp_hist_index = (temp_hist_index + 1U) % TEMP_FILTER_SIZE;

    if(temp_hist_full < TEMP_FILTER_SIZE)
    {
        temp_hist_full++;
    }

    /* Until buffer is full, return simple average of available values */
    if(temp_hist_full < TEMP_FILTER_SIZE)
    {
        float sum = 0.0f;
        for(uint8_t i = 0; i < temp_hist_full; i++)
        {
            sum += temp_hist[i];
        }
        return sum / (float)temp_hist_full;
    }

    /* Copy and sort 5 samples */
    float s[TEMP_FILTER_SIZE];
    for(uint8_t i = 0; i < TEMP_FILTER_SIZE; i++)
    {
        s[i] = temp_hist[i];
    }

    for(uint8_t i = 0; i < TEMP_FILTER_SIZE - 1U; i++)
    {
        for(uint8_t j = i + 1U; j < TEMP_FILTER_SIZE; j++)
        {
            if(s[j] < s[i])
            {
                float t = s[i];
                s[i] = s[j];
                s[j] = t;
            }
        }
    }

    /* Drop lowest and highest, average middle 3 */
    return (s[1] + s[2] + s[3]) / 3.0f;
}

void HAL_TIM_IC_CaptureCallback(TIM_HandleTypeDef *htim)
{
	/* ================= TEMPERATURE SENSOR ISR ================= */
	if(htim->Instance == TIM3 && htim->Channel == HAL_TIM_ACTIVE_CHANNEL_2)
	{
	    uint32_t now_ms = HAL_GetTick();
	    if((now_ms - temp_last_pulse_tick) > 4U)
	    {
	        temp_pulse_count = 0;
	    }
	    temp_pulse_count++;
	    temp_last_pulse_tick = now_ms;
	}

}

void HAL_UART_RxCpltCallback(UART_HandleTypeDef *huart)
{
    if(huart->Instance == USART2)
    {
    	if(idx < sizeof(uart_cmd)-1)
    	{
    	    uart_cmd[idx++] = rx;
    	}
    	if(rx == '\n')
        {
            uart_cmd[idx] = '\0';
            if(strstr(uart_cmd, "@Stat&") != NULL)
            {
                char msg[32];

                snprintf(msg, sizeof(msg), "@2026/02/26 22:12:42\n");
                HAL_UART_Transmit(&huart2, (uint8_t*)msg, 21, 100);

                snprintf(msg, sizeof(msg), "Distance:    %04.1f cm\n", distance_cm);
                HAL_UART_Transmit(&huart2, (uint8_t*)msg, 21, 100);

                snprintf(msg, sizeof(msg), "Temperature: %+05.1f C\n", current_temp);
                HAL_UART_Transmit(&huart2, (uint8_t*)msg, 21, 100);

                snprintf(msg, sizeof(msg), "Light:      %04d lux\n", (int)light_lux);
                HAL_UART_Transmit(&huart2, (uint8_t*)msg, 21, 100);

                snprintf(msg, sizeof(msg), "X accel:     %+05.2f g\n", 0.0f);
                HAL_UART_Transmit(&huart2, (uint8_t*)msg, 21, 100);

                snprintf(msg, sizeof(msg), "Y accel:     %+05.2f g\n", 0.0f);
                HAL_UART_Transmit(&huart2, (uint8_t*)msg, 21, 100);

                snprintf(msg, sizeof(msg), "Z accel:     %+05.2f g\n", 0.0f);
                HAL_UART_Transmit(&huart2, (uint8_t*)msg, 21, 100);

                snprintf(msg, sizeof(msg), "Unsafe driving:    %d\n",
                         (forced_unsafe || unsafe_alarm) ? 1 : 0);
                HAL_UART_Transmit(&huart2, (uint8_t*)msg, 21, 100);

                snprintf(msg, sizeof(msg), "Impact detected:   %d\n",
                         (forced_impact || impact_alarm) ? 1 : 0);
                HAL_UART_Transmit(&huart2, (uint8_t*)msg, 21, 100);

                snprintf(msg, sizeof(msg), "Low-Light warning: %d\n",
                         (forced_low_light || light_alarm_state) ? 1 : 0);
                HAL_UART_Transmit(&huart2, (uint8_t*)msg, 21, 100);

                snprintf(msg, sizeof(msg), "Proximity warning: %d\n",
                         (forced_proximity || proximity_alarm) ? 1 : 0);
                HAL_UART_Transmit(&huart2, (uint8_t*)msg, 21, 100);

                snprintf(msg, sizeof(msg), "High Temperature:  %d\n",
                         (forced_temp || temperature_alarm) ? 1 : 0);
                HAL_UART_Transmit(&huart2, (uint8_t*)msg, 21, 100);

                snprintf(msg, sizeof(msg), "GPSLat:   %+010.6f\n", 0.0f);
                HAL_UART_Transmit(&huart2, (uint8_t*)msg, 21, 100);

                snprintf(msg, sizeof(msg), "GPSLong: %+011.6f\n&\n", 0.0f);
                HAL_UART_Transmit(&huart2, (uint8_t*)msg, 23, 100);
            }
            if(strncmp(uart_cmd, "@SFD ", 5) == 0)
            {
                HandleSFDCommand(uart_cmd);
            }
            else if(strcmp(uart_cmd, "@RFE&\n") == 0)
            {
                SendRFEResponse();
            }
            idx = 0;
        }
        HAL_UART_Receive_IT(&huart2,&rx,1);
    }
}

/* USER CODE END 4 */

void Error_Handler(void)
{
  __disable_irq();
  while (1)
  {
  }
}
